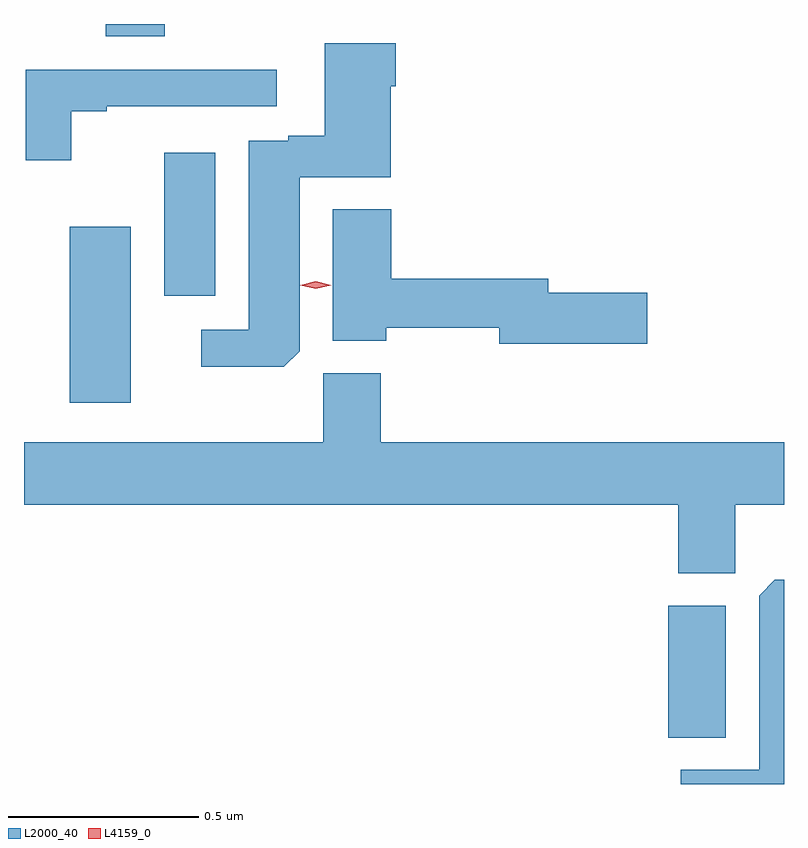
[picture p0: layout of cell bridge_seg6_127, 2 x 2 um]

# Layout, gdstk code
import gdstk
lib = gdstk.Library(unit=1e-6, precision=1e-09)
def R(c, l, rs):  # rectangles x0, y0, x1, y1
    for r in rs: c.add(gdstk.rectangle(r[:2], r[2:], *l))
def P(c, l, *ps):  # polygons
    for p in ps: c.add(gdstk.Polygon(p, *l))
L2000_40 = (2000, 40)
L4159_0 = (4159, 0)

bridge_seg6_127 = lib.new_cell('bridge_seg6_127')
R(bridge_seg6_127, L2000_40, [(397.778,944.059,397.93,944.406), (396.203,944.94,396.364,945.403), (396.452,945.222,396.586,945.598), (396.298,945.905,396.453,945.937)])
P(bridge_seg6_127, L2000_40, [(396.808,945.076),(396.808,945.534),(397.048,945.534),(397.048,945.773),(397.061,945.773),(397.061,945.886),(396.875,945.886),(396.875,945.643),(396.779,945.643),(396.779,945.63),(396.674,945.63),(396.674,945.132),(396.549,945.132),(396.549,945.035),(396.767,945.035)],
  [(396.207,945.708),(396.301,945.708),(396.301,945.72),(396.748,945.72),(396.748,945.816),(396.088,945.816),(396.088,945.579),(396.207,945.579)],
  [(397.723,945.23),(397.462,945.23),(397.462,945.266),(397.049,945.266),(397.049,945.449),(396.896,945.449),(396.896,945.103),(397.036,945.103),(397.036,945.138),(397.334,945.138),(397.334,945.095),(397.723,945.095)],
  [(397.955,944.672),(398.083,944.672),(398.083,944.836),(397.022,944.836),(397.022,945.018),(396.871,945.018),(396.871,944.836),(396.083,944.836),(396.083,944.672),(397.805,944.672),(397.805,944.491),(397.955,944.491)],
  [(398.083,944.474),(398.059,944.474),(398.018,944.432),(398.018,943.974),(397.811,943.974),(397.811,943.937),(398.083,943.937)])
P(bridge_seg6_127, L4159_0, [(396.851,945.24),(396.81,945.25),(396.81,945.25),(396.81,945.25),(396.851,945.26),(396.892,945.25),(396.892,945.25),(396.892,945.25)])

lib.write_gds('bridge_seg6_127.gds')
